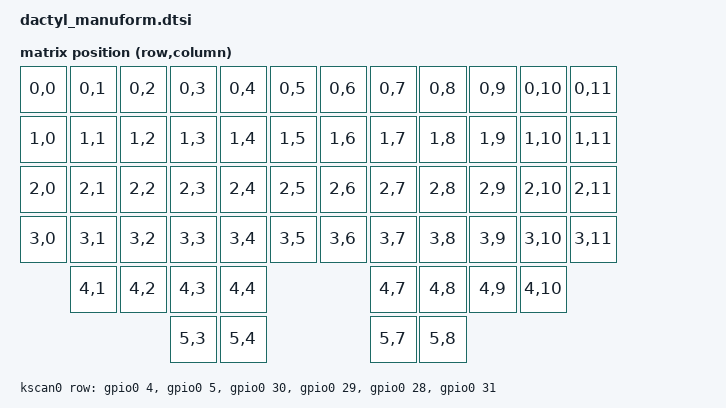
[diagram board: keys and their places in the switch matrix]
#include <dt-bindings/zmk/matrix_transform.h>

/ {
    chosen {
        zmk,kscan = &kscan0;
        zmk,matrix_transform = &default_transform;
    };

    default_transform: keymap_transform_0 {
        compatible = "zmk,matrix-transform";
        columns = <12>;
        rows = <6>;
        
        // 6x6 layout for Dactyl Manuform
        // Each hand has 6 columns, total 12 columns
        map = <
            RC(0,0) RC(0,1) RC(0,2) RC(0,3) RC(0,4) RC(0,5)    RC(0,6) RC(0,7) RC(0,8) RC(0,9) RC(0,10) RC(0,11)
            RC(1,0) RC(1,1) RC(1,2) RC(1,3) RC(1,4) RC(1,5)    RC(1,6) RC(1,7) RC(1,8) RC(1,9) RC(1,10) RC(1,11)
            RC(2,0) RC(2,1) RC(2,2) RC(2,3) RC(2,4) RC(2,5)    RC(2,6) RC(2,7) RC(2,8) RC(2,9) RC(2,10) RC(2,11)
            RC(3,0) RC(3,1) RC(3,2) RC(3,3) RC(3,4) RC(3,5)    RC(3,6) RC(3,7) RC(3,8) RC(3,9) RC(3,10) RC(3,11)
                    RC(4,1) RC(4,2) RC(4,3) RC(4,4)                    RC(4,7) RC(4,8) RC(4,9) RC(4,10)
                                    RC(5,3) RC(5,4)                    RC(5,7) RC(5,8)
        >;
    };

    kscan0: kscan {
        compatible = "zmk,kscan-gpio-matrix";
        label = "KSCAN";
        
        diode-direction = "col2row";
        row-gpios
            = <&gpio0 4 (GPIO_ACTIVE_HIGH | GPIO_PULL_DOWN)>   // A0 = P0.04
            , <&gpio0 5 (GPIO_ACTIVE_HIGH | GPIO_PULL_DOWN)>   // A1 = P0.05
            , <&gpio0 30 (GPIO_ACTIVE_HIGH | GPIO_PULL_DOWN)>  // A2 = P0.30
            , <&gpio0 29 (GPIO_ACTIVE_HIGH | GPIO_PULL_DOWN)>  // A3 = P0.29
            , <&gpio0 28 (GPIO_ACTIVE_HIGH | GPIO_PULL_DOWN)>  // A4 = P0.28
            , <&gpio0 31 (GPIO_ACTIVE_HIGH | GPIO_PULL_DOWN)>  // A5 = P0.31
            ;
    };
};

